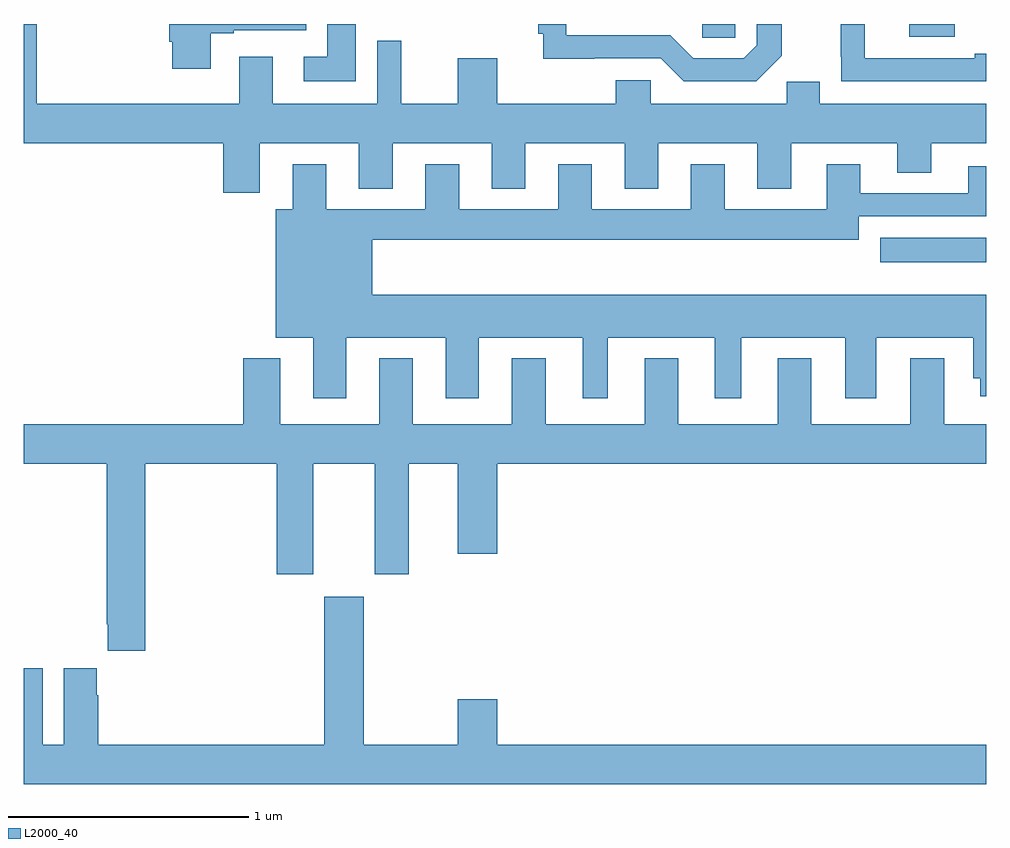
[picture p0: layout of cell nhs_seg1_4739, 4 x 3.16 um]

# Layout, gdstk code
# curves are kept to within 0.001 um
import gdstk
lib = gdstk.Library(unit=1e-6, precision=1e-09)
def R(c, l, rs):  # rectangles x0, y0, x1, y1
    for r in rs: c.add(gdstk.rectangle(r[:2], r[2:], *l))
def P(c, l, *ps):  # polygons
    for p in ps: c.add(gdstk.Polygon(p, *l))
L2000_40 = (2000, 40)

nhs_seg1_4739 = lib.new_cell('nhs_seg1_4739')
R(nhs_seg1_4739, L2000_40, [(370.56,579.209,371,579.31), (369.82,580.141,369.957,580.199), (370.68,580.145,370.87,580.199)])
P(nhs_seg1_4739, L2000_40, [(368.38,580.199),(368.261,580.199),(368.261,580.063),(368.163,580.063),(368.163,579.962),(368.38,579.962)],
  [(367.777,580.161),(367.873,580.161),(367.873,580.173),(368.173,580.173),(368.173,580.199),(367.604,580.199),(367.604,580.126),(367.616,580.126),(367.616,580.014),(367.777,580.014)],
  [(370.15,580.066),(370.15,580.199),(370.047,580.199),(370.047,580.11),(369.993,580.056),(369.783,580.056),(369.687,580.152),(369.255,580.152),(369.255,580.199),(369.139,580.199),(369.139,580.159),(369.158,580.159),(369.158,580.055),(369.648,580.056),(369.744,579.96),(370.044,579.96)],
  [(370.189,579.704),(370.631,579.704),(370.631,579.58),(370.771,579.58),(370.771,579.704),(371,579.704),(371,579.868),(370.309,579.868),(370.309,579.959),(370.171,579.959),(370.171,579.868),(369.606,579.868),(369.606,579.966),(369.46,579.966),(369.46,579.868),(368.968,579.868),(368.968,580.057),(368.804,580.057),(368.804,579.868),(368.568,579.868),(368.568,580.129),(368.469,580.129),(368.469,579.868),(368.035,579.868),(368.035,580.063),(367.895,580.063),(367.895,579.868),(367.054,579.868),(367.054,580.199),(367,580.199),(367,579.704),(367.829,579.704),(367.829,579.498),(367.981,579.498),(367.981,579.704),(368.393,579.704),(368.393,579.515),(368.533,579.515),(368.533,579.704),(368.945,579.704),(368.945,579.515),(369.085,579.515),(369.085,579.704),(369.497,579.704),(369.497,579.515),(369.637,579.515),(369.637,579.704),(370.049,579.704),(370.049,579.515),(370.189,579.515)],
  [(371,580.076),(370.952,580.076),(370.952,580.056),(370.496,580.056),(370.496,580.199),(370.396,580.199),(370.396,580.063),(370.398,580.063),(370.398,579.96),(371,579.96)],
  [(368.341,578.894),(368.753,578.894),(368.753,578.643),(368.89,578.643),(368.89,578.894),(369.323,578.894),(369.323,578.643),(369.427,578.643),(369.427,578.894),(369.872,578.894),(369.872,578.643),(369.982,578.643),(369.982,578.894),(370.415,578.894),(370.415,578.643),(370.543,578.643),(370.543,578.894),(370.946,578.894),(370.946,578.726),(370.976,578.726),(370.976,578.651),(371,578.651),(371,579.073),(368.449,579.073),(368.449,579.302),(370.471,579.302),(370.471,579.399),(371,579.399),(371,579.607),(370.925,579.607),(370.925,579.495),(370.477,579.495),(370.477,579.616),(370.337,579.616),(370.337,579.43),(369.913,579.43),(369.913,579.616),(369.773,579.616),(369.773,579.43),(369.361,579.43),(369.361,579.616),(369.221,579.616),(369.221,579.43),(368.809,579.43),(368.809,579.616),(368.669,579.616),(368.669,579.43),(368.257,579.43),(368.257,579.616),(368.117,579.616),(368.117,579.43),(368.048,579.43),(368.048,578.894),(368.204,578.894),(368.204,578.643),(368.341,578.643)],
  [(371,578.536),(370.825,578.536),(370.825,578.809),(370.685,578.809),(370.685,578.536),(370.273,578.536),(370.273,578.809),(370.133,578.809),(370.133,578.536),(369.721,578.536),(369.721,578.809),(369.581,578.809),(369.581,578.536),(369.169,578.536),(369.169,578.809),(369.029,578.809),(369.029,578.536),(368.617,578.536),(368.617,578.809),(368.477,578.809),(368.477,578.536),(368.065,578.536),(368.065,578.809),(367.913,578.809),(367.913,578.536),(367,578.536),(367,578.372),(367.345,578.372),(367.345,577.705),(367.349,577.705),(367.349,577.593),(367.505,577.593),(367.505,578.372),(368.051,578.372),(368.051,577.911),(368.203,577.911),(368.203,578.372),(368.459,578.372),(368.459,577.911),(368.599,577.911),(368.599,578.372),(368.804,578.372),(368.804,577.998),(368.968,577.998),(368.968,578.372),(371,578.372)],
  [(371,577.204),(368.968,577.204),(368.968,577.393),(368.804,577.393),(368.804,577.204),(368.413,577.204),(368.413,577.819),(368.249,577.819),(368.249,577.204),(367.31,577.204),(367.31,577.409),(367.303,577.409),(367.303,577.522),(367.166,577.522),(367.166,577.204),(367.078,577.204),(367.078,577.522),(367,577.522),(367,577.04),(371,577.04)])

lib.write_gds('nhs_seg1_4739.gds')
